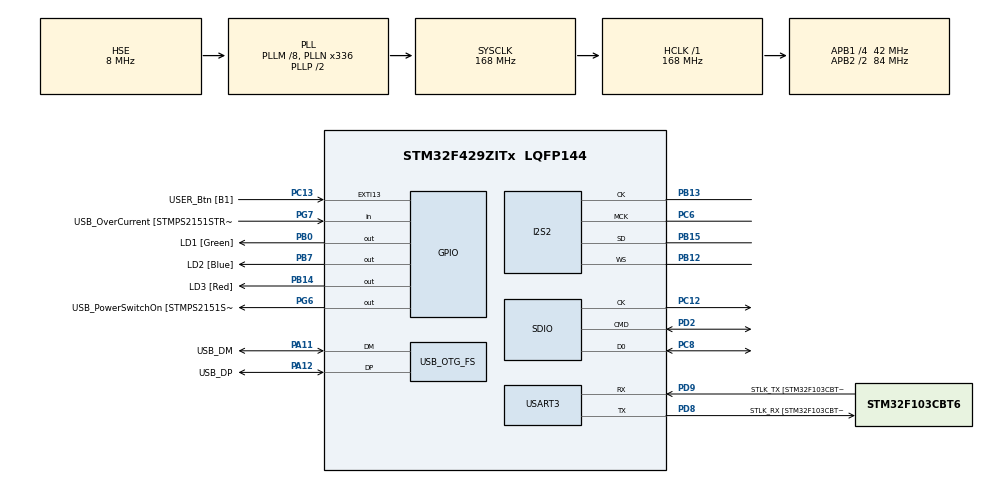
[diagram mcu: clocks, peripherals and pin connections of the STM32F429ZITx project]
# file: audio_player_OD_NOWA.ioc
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Dma.Request0=SPI2_TX
Dma.SPI2_TX.0.Direction=DMA_MEMORY_TO_PERIPH
Dma.SPI2_TX.0.FIFOMode=DMA_FIFOMODE_ENABLE
Dma.SPI2_TX.0.FIFOThreshold=DMA_FIFO_THRESHOLD_FULL
Dma.SPI2_TX.0.Instance=DMA1_Stream4
Dma.SPI2_TX.0.MemBurst=DMA_MBURST_SINGLE
Dma.SPI2_TX.0.MemDataAlignment=DMA_MDATAALIGN_HALFWORD
Dma.SPI2_TX.0.MemInc=DMA_MINC_ENABLE
Dma.SPI2_TX.0.Mode=DMA_CIRCULAR
Dma.SPI2_TX.0.PeriphBurst=DMA_PBURST_SINGLE
Dma.SPI2_TX.0.PeriphDataAlignment=DMA_PDATAALIGN_HALFWORD
Dma.SPI2_TX.0.PeriphInc=DMA_PINC_DISABLE
Dma.SPI2_TX.0.Priority=DMA_PRIORITY_LOW
FATFS._FS_LOCK=3
FATFS._MAX_SS=512
I2S2.AudioFreq=I2S_AUDIOFREQ_44K
I2S2.CPOL=I2S_CPOL_HIGH
I2S2.DataFormat=I2S_DATAFORMAT_16B
I2S2.ErrorAudioFreq=0.24 %
I2S2.FullDuplexMode=I2S_FULLDUPLEXMODE_DISABLE
I2S2.Instance=SPI$Index
I2S2.RealAudioFreq=44.108 KHz
I2S2.VirtualMode=I2S_MODE_MASTER
Mcu.Family=STM32F4
Mcu.Name=STM32F429ZITx
Mcu.Package=LQFP144
NVIC.DMA1_Stream4_IRQn=true\:0\:0\:false\:false\:true\:false\:true
NVIC.OTG_FS_IRQn=true\:0\:0\:false\:false\:true\:false\:true
NVIC.PriorityGroup=NVIC_PRIORITYGROUP_4
NVIC.TIM2_IRQn=true\:0\:0\:false\:false\:true\:true\:true
PA10.GPIO_Label=USB_ID
PA10.Signal=USB_OTG_FS_ID
PA11.GPIO_Label=USB_DM
PA11.Mode=Host_Only
PA11.Signal=USB_OTG_FS_DM
PA12.GPIO_Label=USB_DP
PA12.Mode=Host_Only
PA12.Signal=USB_OTG_FS_DP
PA13.GPIO_Label=TMS
PA13.Mode=Serial_Wire
PA13.Signal=SYS_JTMS-SWDIO
PA14.GPIO_Label=TCK
PA14.Mode=Serial_Wire
PA14.Signal=SYS_JTCK-SWCLK
PA8.GPIO_Label=USB_SOF [TP1]
PA8.Signal=USB_OTG_FS_SOF
PA9.GPIO_Label=USB_VBUS
PA9.Signal=USB_OTG_FS_VBUS
PB0.GPIO_Label=LD1 [Green]
PB0.Signal=GPIO_Output
PB12.Mode=Half_Duplex_Master
PB12.Signal=I2S2_WS
PB13.Mode=Half_Duplex_Master
PB13.Signal=I2S2_CK
PB14.GPIO_Label=LD3 [Red]
PB14.Signal=GPIO_Output
PB15.Mode=Half_Duplex_Master
PB15.Signal=I2S2_SD
PB7.GPIO_Label=LD2 [Blue]
PB7.Signal=GPIO_Output
PC12.Mode=SD_1_bit
PC12.Signal=SDIO_CK
PC13.GPIO_Label=USER_Btn [B1]
PC13.Signal=GPXTI13
PC14/OSC32_IN.Mode=LSE-External-Oscillator
PC14/OSC32_IN.Signal=RCC_OSC32_IN
PC15/OSC32_OUT.Mode=LSE-External-Oscillator
PC15/OSC32_OUT.Signal=RCC_OSC32_OUT
PC6.Mode=Master_Clock_Activated
PC6.Signal=I2S2_MCK
PC8.Mode=SD_1_bit
PC8.Signal=SDIO_D0
PD2.Mode=SD_1_bit
PD2.Signal=SDIO_CMD
PD8.GPIO_Label=STLK_RX [STM32F103CBT6_PA3]
PD8.Mode=Asynchronous
PD8.Signal=USART3_TX
PD9.GPIO_Label=STLK_TX [STM32F103CBT6_PA2]
PD9.Mode=Asynchronous
PD9.Signal=USART3_RX
PG6.GPIO_Label=USB_PowerSwitchOn [STMPS2151STR_EN]
PG6.Signal=GPIO_Output
PG7.GPIO_Label=USB_OverCurrent [STMPS2151STR_FAULT]
PG7.Signal=GPIO_Input
PH0/OSC_IN.GPIO_Label=MCO [STM32F103CBT6_PA8]
PH0/OSC_IN.Mode=HSE-External-Clock-Source
PH0/OSC_IN.Signal=RCC_OSC_IN
PH1/OSC_OUT.Mode=HSE-External-Clock-Source
PH1/OSC_OUT.Signal=RCC_OSC_OUT
ProjectManager.HeapSize=0x2000
ProjectManager.StackSize=0x2000
ProjectManager.TargetToolchain=STM32CubeIDE
RCC.48MHZClocksFreq_Value=48000000
RCC.AHBFreq_Value=168000000
RCC.APB1CLKDivider=RCC_HCLK_DIV4
RCC.APB1Freq_Value=42000000
RCC.APB1TimFreq_Value=84000000
RCC.APB2CLKDivider=RCC_HCLK_DIV2
RCC.APB2Freq_Value=84000000
RCC.APB2TimFreq_Value=168000000
RCC.CortexFreq_Value=168000000
RCC.HCLKFreq_Value=168000000
RCC.HSE_VALUE=8000000
RCC.HSI_VALUE=16000000
RCC.PLLI2SN=271
RCC.PLLI2SR=6
RCC.PLLM=8
RCC.PLLMUL=RCC_PLL_MUL9
RCC.PLLN=336
RCC.PLLQ=7
RCC.PRESCALERUSB=RCC_USBCLKSOURCE_PLL_DIV1_5
RCC.SYSCLKFreq_VALUE=168000000
RCC.SYSCLKSource=RCC_SYSCLKSOURCE_PLLCLK
RCC.SYSCLKSourceVirtual=RCC_SYSCLKSOURCE_PLLCLK
RCC.USBFreq_Value=48000000
RCC.VCOOutputFreq_Value=336000000
SDIO.ClockDiv=0
SDIO.HardwareFlowControl=SDIO_HARDWARE_FLOW_CONTROL_DISABLE
TIM2.Period=20-1
TIM2.Prescaler=84-1
TIM2.TIM_MasterOutputTrigger=TIM_TRGO_UPDATE
USART3.VirtualMode=VM_ASYNC
USB_HOST.USBH_HandleTypeDef-MSC_FS=hUsbHostFS
USB_HOST.VirtualModeFS=Msc
USB_OTG_FS.VirtualMode=Host_Only
USB_OTG_FS.phy_itface=HCD_PHY_EMBEDDED
VP_FATFS_VS_Generic.Mode=User_defined
VP_FATFS_VS_SDIO.Mode=SDIO
VP_FATFS_VS_USB.Mode=USB
VP_TIM2_VS_ClockSourceINT.Mode=Internal
VP_USB_HOST_VS_USB_HOST_MSC_FS.Mode=MSC_FS
board=NUCLEO-F429ZI

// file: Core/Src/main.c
/* USER CODE BEGIN Header */
/**
  ******************************************************************************
  * @file           : main.c
  * @brief          : Main program body
  ******************************************************************************
  * @attention
  *
  * <h2><center>&copy; Copyright (c) 2020 STMicroelectronics.
  * All rights reserved.</center></h2>
  *
  * This software component is licensed by ST under Ultimate Liberty license
  * SLA0044, the "License"; You may not use this file except in compliance with
  * the License. You may obtain a copy of the License at:
  *                             www.st.com/SLA0044
  *
  ******************************************************************************
  */
/* USER CODE END Header */
#include "main.h"
#include "fatfs.h"
#include "usb_host.h"

/* USER CODE BEGIN Includes */
#include "USB_SileliS.h"
#include "sdCARD_SileliS.h"
#include "SileliS_printf.h"
#include "player.h"
/* USER CODE END Includes */

/* USER CODE BEGIN PTD */
extern ApplicationTypeDef Appli_state;
/* USER CODE END PTD */

I2S_HandleTypeDef hi2s2;
DMA_HandleTypeDef hdma_spi2_tx;

SD_HandleTypeDef hsd;

TIM_HandleTypeDef htim2;

UART_HandleTypeDef huart3;

void SystemClock_Config(void);
static void MX_GPIO_Init(void);
static void MX_DMA_Init(void);
static void MX_USART3_UART_Init(void);
static void MX_I2S2_Init(void);
static void MX_TIM2_Init(void);
static void MX_SDIO_SD_Init(void);
void MX_USB_HOST_Process(void);

int main(void)
{
  /* USER CODE BEGIN 1 */
//	uint16_t tata[6];
//	tata[0]=1;
//	tata[1]=1;
//	tata[2]=1;
//	tata[3]=1;
//	tata[4]=1;
//	tata[5]=1;
//	memset(tata,NULL,sizeof(tata));
//	while(1);
  /* USER CODE END 1 */

  /* MCU Configuration--------------------------------------------------------*/

  /* Reset of all peripherals, Initializes the Flash interface and the Systick. */
  HAL_Init();

  /* Configure the system clock */
  SystemClock_Config();

  /* Initialize all configured peripherals */
  MX_GPIO_Init();
  MX_DMA_Init();
  MX_USART3_UART_Init();
  MX_I2S2_Init();
  MX_TIM2_Init();
  MX_FATFS_Init();
  MX_USB_HOST_Init();
  MX_SDIO_SD_Init();
  /* USER CODE BEGIN 2 */
  printf_init(&huart3);
  printf("Hello World\r\n");
  USB_DEV_power_on();
  /* USER CODE END 2 */

  /* Infinite loop */
  while (1)
  {
    MX_USB_HOST_Process();

    /* USER CODE BEGIN 3 */

    if (!USB_DEV_mount(Appli_state))
    {
    	play_directory (USBHPath);
    }

    FRESULT res;
    extern char SDPath[4]; /* SD logical drive path */
    extern FATFS SDFatFS; /* File system object for SD logical drive */

    extern ApplicationTypeDef sdCardAppli_state;
    sdCARD_HOST_Process();
    if(!sdCARD_DEV_mount(sdCardAppli_state))
    {
    	play_directory (SDPath);
    }

  }
  /* USER CODE END 3 */
}

void SystemClock_Config(void)
{
  RCC_OscInitTypeDef RCC_OscInitStruct = {0};
  RCC_ClkInitTypeDef RCC_ClkInitStruct = {0};
  RCC_PeriphCLKInitTypeDef PeriphClkInitStruct = {0};

  /** Configure the main internal regulator output voltage
  */
  __HAL_RCC_PWR_CLK_ENABLE();
  __HAL_PWR_VOLTAGESCALING_CONFIG(PWR_REGULATOR_VOLTAGE_SCALE1);
  /** Initializes the RCC Oscillators according to the specified parameters
  * in the RCC_OscInitTypeDef structure.
  */
  RCC_OscInitStruct.OscillatorType = RCC_OSCILLATORTYPE_HSE;
  RCC_OscInitStruct.HSEState = RCC_HSE_BYPASS;
  RCC_OscInitStruct.PLL.PLLState = RCC_PLL_ON;
  RCC_OscInitStruct.PLL.PLLSource = RCC_PLLSOURCE_HSE;
  RCC_OscInitStruct.PLL.PLLM = 8;
  RCC_OscInitStruct.PLL.PLLN = 336;
  RCC_OscInitStruct.PLL.PLLP = RCC_PLLP_DIV2;
  RCC_OscInitStruct.PLL.PLLQ = 7;
  if (HAL_RCC_OscConfig(&RCC_OscInitStruct) != HAL_OK)
  {
    Error_Handler();
  }
  /** Initializes the CPU, AHB and APB buses clocks
  */
  RCC_ClkInitStruct.ClockType = RCC_CLOCKTYPE_HCLK|RCC_CLOCKTYPE_SYSCLK
                              |RCC_CLOCKTYPE_PCLK1|RCC_CLOCKTYPE_PCLK2;
  RCC_ClkInitStruct.SYSCLKSource = RCC_SYSCLKSOURCE_PLLCLK;
  RCC_ClkInitStruct.AHBCLKDivider = RCC_SYSCLK_DIV1;
  RCC_ClkInitStruct.APB1CLKDivider = RCC_HCLK_DIV4;
  RCC_ClkInitStruct.APB2CLKDivider = RCC_HCLK_DIV2;

  if (HAL_RCC_ClockConfig(&RCC_ClkInitStruct, FLASH_LATENCY_5) != HAL_OK)
  {
    Error_Handler();
  }
  PeriphClkInitStruct.PeriphClockSelection = RCC_PERIPHCLK_I2S;
  PeriphClkInitStruct.PLLI2S.PLLI2SN = 271;
  PeriphClkInitStruct.PLLI2S.PLLI2SR = 6;
  if (HAL_RCCEx_PeriphCLKConfig(&PeriphClkInitStruct) != HAL_OK)
  {
    Error_Handler();
  }
}

static void MX_I2S2_Init(void)
{

  hi2s2.Instance = SPI2;
  hi2s2.Init.Mode = I2S_MODE_MASTER_TX;
  hi2s2.Init.Standard = I2S_STANDARD_PHILIPS;
  hi2s2.Init.DataFormat = I2S_DATAFORMAT_16B;
  hi2s2.Init.MCLKOutput = I2S_MCLKOUTPUT_ENABLE;
  hi2s2.Init.AudioFreq = I2S_AUDIOFREQ_44K;
  hi2s2.Init.CPOL = I2S_CPOL_HIGH;
  hi2s2.Init.ClockSource = I2S_CLOCK_PLL;
  hi2s2.Init.FullDuplexMode = I2S_FULLDUPLEXMODE_DISABLE;
  if (HAL_I2S_Init(&hi2s2) != HAL_OK)
  {
    Error_Handler();
  }

}

static void MX_SDIO_SD_Init(void)
{

  hsd.Instance = SDIO;
  hsd.Init.ClockEdge = SDIO_CLOCK_EDGE_RISING;
  hsd.Init.ClockBypass = SDIO_CLOCK_BYPASS_DISABLE;
  hsd.Init.ClockPowerSave = SDIO_CLOCK_POWER_SAVE_DISABLE;
  hsd.Init.BusWide = SDIO_BUS_WIDE_1B;
  hsd.Init.HardwareFlowControl = SDIO_HARDWARE_FLOW_CONTROL_DISABLE;
  hsd.Init.ClockDiv = 0;

}

static void MX_TIM2_Init(void)
{

  TIM_ClockConfigTypeDef sClockSourceConfig = {0};
  TIM_MasterConfigTypeDef sMasterConfig = {0};

  htim2.Instance = TIM2;
  htim2.Init.Prescaler = 84-1;
  htim2.Init.CounterMode = TIM_COUNTERMODE_UP;
  htim2.Init.Period = 20-1;
  htim2.Init.ClockDivision = TIM_CLOCKDIVISION_DIV1;
  htim2.Init.AutoReloadPreload = TIM_AUTORELOAD_PRELOAD_DISABLE;
  if (HAL_TIM_Base_Init(&htim2) != HAL_OK)
  {
    Error_Handler();
  }
  sClockSourceConfig.ClockSource = TIM_CLOCKSOURCE_INTERNAL;
  if (HAL_TIM_ConfigClockSource(&htim2, &sClockSourceConfig) != HAL_OK)
  {
    Error_Handler();
  }
  sMasterConfig.MasterOutputTrigger = TIM_TRGO_UPDATE;
  sMasterConfig.MasterSlaveMode = TIM_MASTERSLAVEMODE_DISABLE;
  if (HAL_TIMEx_MasterConfigSynchronization(&htim2, &sMasterConfig) != HAL_OK)
  {
    Error_Handler();
  }

}

static void MX_USART3_UART_Init(void)
{

  huart3.Instance = USART3;
  huart3.Init.BaudRate = 115200;
  huart3.Init.WordLength = UART_WORDLENGTH_8B;
  huart3.Init.StopBits = UART_STOPBITS_1;
  huart3.Init.Parity = UART_PARITY_NONE;
  huart3.Init.Mode = UART_MODE_TX_RX;
  huart3.Init.HwFlowCtl = UART_HWCONTROL_NONE;
  huart3.Init.OverSampling = UART_OVERSAMPLING_16;
  if (HAL_UART_Init(&huart3) != HAL_OK)
  {
    Error_Handler();
  }

}

static void MX_DMA_Init(void)
{

  /* DMA controller clock enable */
  __HAL_RCC_DMA1_CLK_ENABLE();

  /* DMA interrupt init */
  /* DMA1_Stream4_IRQn interrupt configuration */
  HAL_NVIC_SetPriority(DMA1_Stream4_IRQn, 0, 0);
  HAL_NVIC_EnableIRQ(DMA1_Stream4_IRQn);

}

static void MX_GPIO_Init(void)
{
  GPIO_InitTypeDef GPIO_InitStruct = {0};

  /* GPIO Ports Clock Enable */
  __HAL_RCC_GPIOE_CLK_ENABLE();
  __HAL_RCC_GPIOC_CLK_ENABLE();
  __HAL_RCC_GPIOF_CLK_ENABLE();
  __HAL_RCC_GPIOH_CLK_ENABLE();
  __HAL_RCC_GPIOA_CLK_ENABLE();
  __HAL_RCC_GPIOB_CLK_ENABLE();
  __HAL_RCC_GPIOG_CLK_ENABLE();
  __HAL_RCC_GPIOD_CLK_ENABLE();

  /*Configure GPIO pin Output Level */
  HAL_GPIO_WritePin(GPIOB, LD1_Pin|LD3_Pin|LD2_Pin, GPIO_PIN_RESET);

  /*Configure GPIO pin Output Level */
  HAL_GPIO_WritePin(USB_PowerSwitchOn_GPIO_Port, USB_PowerSwitchOn_Pin, GPIO_PIN_RESET);

  /*Configure GPIO pins : PE2 PE3 PE4 PE5
                           PE6 PE7 PE8 PE9
                           PE10 PE11 PE12 PE13
                           PE14 PE15 PE0 PE1 */
  GPIO_InitStruct.Pin = GPIO_PIN_2|GPIO_PIN_3|GPIO_PIN_4|GPIO_PIN_5
                          |GPIO_PIN_6|GPIO_PIN_7|GPIO_PIN_8|GPIO_PIN_9
                          |GPIO_PIN_10|GPIO_PIN_11|GPIO_PIN_12|GPIO_PIN_13
                          |GPIO_PIN_14|GPIO_PIN_15|GPIO_PIN_0|GPIO_PIN_1;
  GPIO_InitStruct.Mode = GPIO_MODE_ANALOG;
  GPIO_InitStruct.Pull = GPIO_NOPULL;
  HAL_GPIO_Init(GPIOE, &GPIO_InitStruct);

  /*Configure GPIO pin : USER_Btn_Pin */
  GPIO_InitStruct.Pin = USER_Btn_Pin;
  GPIO_InitStruct.Mode = GPIO_MODE_IT_RISING;
  GPIO_InitStruct.Pull = GPIO_NOPULL;
  HAL_GPIO_Init(USER_Btn_GPIO_Port, &GPIO_InitStruct);

  /*Configure GPIO pins : PF0 PF1 PF2 PF3
                           PF4 PF5 PF6 PF7
                           PF8 PF9 PF10 PF11
                           PF12 PF13 PF14 PF15 */
  GPIO_InitStruct.Pin = GPIO_PIN_0|GPIO_PIN_1|GPIO_PIN_2|GPIO_PIN_3
                          |GPIO_PIN_4|GPIO_PIN_5|GPIO_PIN_6|GPIO_PIN_7
                          |GPIO_PIN_8|GPIO_PIN_9|GPIO_PIN_10|GPIO_PIN_11
                          |GPIO_PIN_12|GPIO_PIN_13|GPIO_PIN_14|GPIO_PIN_15;
  GPIO_InitStruct.Mode = GPIO_MODE_ANALOG;
  GPIO_InitStruct.Pull = GPIO_NOPULL;
  HAL_GPIO_Init(GPIOF, &GPIO_InitStruct);

  /*Configure GPIO pins : PC0 PC1 PC2 PC3
                           PC4 PC5 PC7 PC9
                           PC10 PC11 */
  GPIO_InitStruct.Pin = GPIO_PIN_0|GPIO_PIN_1|GPIO_PIN_2|GPIO_PIN_3
                          |GPIO_PIN_4|GPIO_PIN_5|GPIO_PIN_7|GPIO_PIN_9
                          |GPIO_PIN_10|GPIO_PIN_11;
  GPIO_InitStruct.Mode = GPIO_MODE_ANALOG;
  GPIO_InitStruct.Pull = GPIO_NOPULL;
  HAL_GPIO_Init(GPIOC, &GPIO_InitStruct);

  /*Configure GPIO pins : PA0 PA1 PA2 PA3
                           PA4 PA5 PA6 PA7
                           PA15 */
  GPIO_InitStruct.Pin = GPIO_PIN_0|GPIO_PIN_1|GPIO_PIN_2|GPIO_PIN_3
                          |GPIO_PIN_4|GPIO_PIN_5|GPIO_PIN_6|GPIO_PIN_7
                          |GPIO_PIN_15;
  GPIO_InitStruct.Mode = GPIO_MODE_ANALOG;
  GPIO_InitStruct.Pull = GPIO_NOPULL;
  HAL_GPIO_Init(GPIOA, &GPIO_InitStruct);

  /*Configure GPIO pins : LD1_Pin LD3_Pin LD2_Pin */
  GPIO_InitStruct.Pin = LD1_Pin|LD3_Pin|LD2_Pin;
  GPIO_InitStruct.Mode = GPIO_MODE_OUTPUT_PP;
  GPIO_InitStruct.Pull = GPIO_NOPULL;
  GPIO_InitStruct.Speed = GPIO_SPEED_FREQ_LOW;
  HAL_GPIO_Init(GPIOB, &GPIO_InitStruct);

  /*Configure GPIO pins : PB1 PB2 PB10 PB11
                           PB3 PB4 PB5 PB6
                           PB8 PB9 */
  GPIO_InitStruct.Pin = GPIO_PIN_1|GPIO_PIN_2|GPIO_PIN_10|GPIO_PIN_11
                          |GPIO_PIN_3|GPIO_PIN_4|GPIO_PIN_5|GPIO_PIN_6
                          |GPIO_PIN_8|GPIO_PIN_9;
  GPIO_InitStruct.Mode = GPIO_MODE_ANALOG;
  GPIO_InitStruct.Pull = GPIO_NOPULL;
  HAL_GPIO_Init(GPIOB, &GPIO_InitStruct);

  /*Configure GPIO pins : PG0 PG1 PG2 PG3
                           PG4 PG5 PG8 PG9
                           PG10 PG11 PG12 PG13
                           PG14 PG15 */
  GPIO_InitStruct.Pin = GPIO_PIN_0|GPIO_PIN_1|GPIO_PIN_2|GPIO_PIN_3
                          |GPIO_PIN_4|GPIO_PIN_5|GPIO_PIN_8|GPIO_PIN_9
                          |GPIO_PIN_10|GPIO_PIN_11|GPIO_PIN_12|GPIO_PIN_13
                          |GPIO_PIN_14|GPIO_PIN_15;
  GPIO_InitStruct.Mode = GPIO_MODE_ANALOG;
  GPIO_InitStruct.Pull = GPIO_NOPULL;
  HAL_GPIO_Init(GPIOG, &GPIO_InitStruct);

  /*Configure GPIO pins : PD10 PD11 PD12 PD13
                           PD14 PD15 PD0 PD1
                           PD3 PD4 PD5 PD6
                           PD7 */
  GPIO_InitStruct.Pin = GPIO_PIN_10|GPIO_PIN_11|GPIO_PIN_12|GPIO_PIN_13
                          |GPIO_PIN_14|GPIO_PIN_15|GPIO_PIN_0|GPIO_PIN_1
                          |GPIO_PIN_3|GPIO_PIN_4|GPIO_PIN_5|GPIO_PIN_6
                          |GPIO_PIN_7;
  GPIO_InitStruct.Mode = GPIO_MODE_ANALOG;
  GPIO_InitStruct.Pull = GPIO_NOPULL;
  HAL_GPIO_Init(GPIOD, &GPIO_InitStruct);

  /*Configure GPIO pin : USB_PowerSwitchOn_Pin */
  GPIO_InitStruct.Pin = USB_PowerSwitchOn_Pin;
  GPIO_InitStruct.Mode = GPIO_MODE_OUTPUT_PP;
  GPIO_InitStruct.Pull = GPIO_NOPULL;
  GPIO_InitStruct.Speed = GPIO_SPEED_FREQ_LOW;
  HAL_GPIO_Init(USB_PowerSwitchOn_GPIO_Port, &GPIO_InitStruct);

  /*Configure GPIO pin : USB_OverCurrent_Pin */
  GPIO_InitStruct.Pin = USB_OverCurrent_Pin;
  GPIO_InitStruct.Mode = GPIO_MODE_INPUT;
  GPIO_InitStruct.Pull = GPIO_NOPULL;
  HAL_GPIO_Init(USB_OverCurrent_GPIO_Port, &GPIO_InitStruct);

}

void Error_Handler(void)
{
}

/************************ (C) COPYRIGHT STMicroelectronics *****END OF FILE****/
